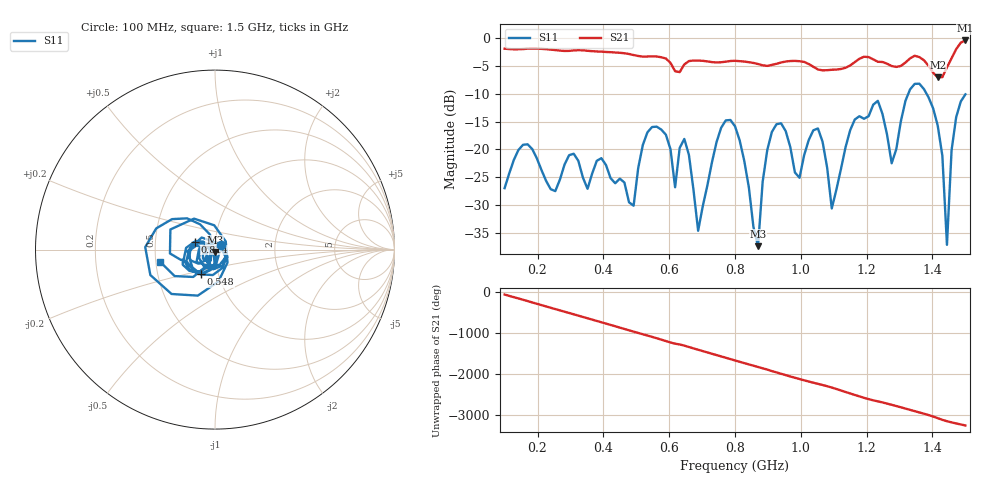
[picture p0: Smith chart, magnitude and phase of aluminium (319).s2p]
! NanoVNA-App
! Date: 2025-09-25 14:57:46
! Start: 100MHz Stop: 1,5GHz Points: 101
! S-Parameter data: F S11 S21 S12 S22
# Hz S RI R 50
!  Frequency  S11_Real  S11_Imag  S21_Real  S21_Imag  S12_Real  S12_Imag  S22_Real  S22_Imag
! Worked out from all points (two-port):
!   101 points, 100 MHz to 1.5 GHz, reference 50 ohm
!   highest |S21| = -0.44 dB at 1.5 GHz (marker M1); lowest = -7.1 dB at 1.416 GHz (marker M2)
!   |S21| within 3 dB of the highest: start of sweep to 574.4 MHz; 1.46 GHz to end of sweep (the widest 2 of 4)
!   lowest |S11| = -37.4 dB at 870 MHz (marker M3), VSWR 1.03, Z = 49.9 - j1.34 ohm
!   |S11| at or under -10 dB: start of sweep to 1.327 GHz; 1.382 GHz to end of sweep
!   S12 and S22 are empty: the file has one direction only
!   S11 on the Smith chart (normalised r, x): 100 MHz: 1.07, +0.06; 548 MHz: 0.82, -0.23; 814 MHz: 0.79, +0.07; 1.5 GHz: 0.53, -0.08
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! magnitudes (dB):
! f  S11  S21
! 100 MHz  -27.0  -1.9
! 338 MHz  -25.1  -2.2
! 492 MHz  -30.1  -3.1
! 548 MHz  -16.0  -3.3
! 576 MHz  -16.4  -3.5
! 618 MHz  -26.8  -6.0
! 646 MHz  -18.1  -4.7
! 688 MHz  -34.6  -4.1
! 800 MHz  -15.8  -4.1
! 814 MHz  -18.3  -4.2
! 870 MHz  -37.4  -4.7
! 912 MHz  -16.9  -4.8
! 996 MHz  -25.1  -4.2
! 1.038 GHz  -16.6  -5.2
! 1.094 GHz  -30.6  -5.7
! 1.234 GHz  -11.3  -4.3
! 1.276 GHz  -22.5  -5.0
! 1.346 GHz  -8.2  -3.2
! 1.416 GHz  -15.7  -7.1
! 1.444 GHz  -37.1  -5.3
! 1.458 GHz  -20.2  -3.6
! 1.5 GHz  -10.1  -0.4
